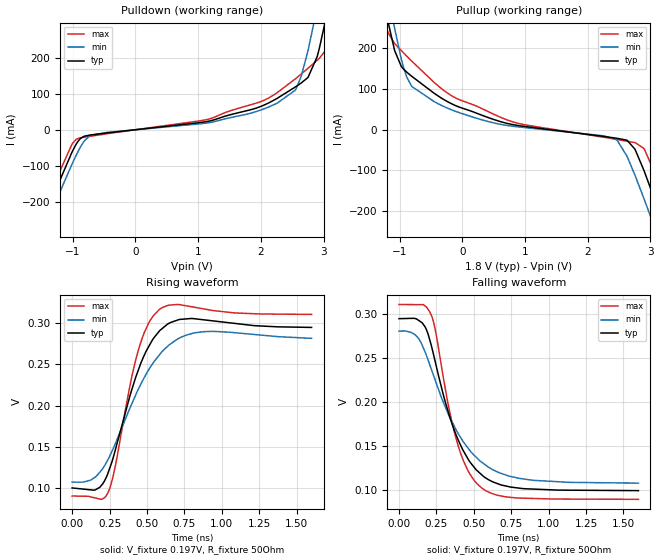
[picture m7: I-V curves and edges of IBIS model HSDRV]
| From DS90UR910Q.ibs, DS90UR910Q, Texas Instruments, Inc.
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|   Model
[Model]   HSDRV
Model_type   Output
Polarity   Non-Inverting
Vmeas = 0.2
Vref = 0.2
Cref = 1pF
Rref = 50
|   typ   min   max
C_comp   1.832pF   1.601pF   1.978pF
[Voltage Range]   1.8   1.71   1.89
[Temperature Range]   25   105   -40
[Pullup Reference]   1.8   1.71   1.89
[Pulldown Reference]   -0   0   0
[Power Clamp Reference]   1.8   1.71   1.89
[GND Clamp Reference]   0   0   0
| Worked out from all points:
|   slope of the pulldown table from 0 to 0.27 V, typ, clamps not added: 51.7 ohm
|   slope of the pullup table from 0 to 0.27 V, typ, clamps not added: 18.2 ohm
|   falling waveform, V_fixture 0.197V, R_fixture 50Ohm: 20-80 % time 222ps typ, 288ps min, 171ps max; typ from 0.294 V to 0.1 V
|   rising waveform, V_fixture 0.197V, R_fixture 50Ohm: 20-80 % time 191ps typ, 263ps min, 145ps max; typ from 0.1 V to 0.295 V
[Pulldown]
|   Voltage   I(typ)   I(min)   I(max)
-1.8V     -408.1mA   -428.6mA   -394.2mA
-1.244V   -157.8mA   -189.4mA   -133.5mA
-941.4mV  -39.07mA   -69.66mA   -26.44mA
-720mV    -14.67mA   -15.53mA   -18.18mA
1.138V    22.58mA    18.55mA    28.11mA
2.201V    81.34mA    69mA       96mA
2.558V    119.5mA    111.7mA    142.1mA
2.752V    145.1mA    219.8mA    170.5mA
2.898V    202.6mA    338.3mA    192.6mA
3.049V    317.1mA    472.4mA    223.8mA
3.238V    484.9mA    647mA      350.1mA
3.595V    821mA      985.6mA    677.5mA
[Pullup]
|   Voltage   I(typ)   I(min)   I(max)
-1.8V     826.6mA    904.9mA    769.2mA
-1.179V   262.1mA    331.7mA    237.6mA
-1.082V   196.7mA    251.8mA    212.4mA
-941.4mV  149.8mA    155.6mA    189.7mA
-806.4mV  131.4mA    106.5mA    168.7mA
-109.8mV  59.48mA    45.33mA    78.4mA
878.4mV   10.67mA    7.232mA    16.23mA
2.466V    -21mA      -25.08mA   -23.89mA
2.758V    -49.25mA   -113.3mA   -31.78mA
2.903V    -102.8mA   -172.1mA   -47.71mA
3.103V    -188mA     -256.1mA   -125.3mA
3.595V    -409.8mA   -469mA     -353.8mA
[Ramp]
R_load = 50
|   typ   min   max
dV/dt_r   0.117256/1.91303e-10   0.104989/2.62728e-10   0.132656/1.44521e-10
dV/dt_f   0.116855/2.21162e-10   0.103292/2.87466e-10   0.132394/1.70685e-10
[Falling Waveform]
V_fixture = 0.197V
V_fixture_min = 0.194V
V_fixture_max = 0.2V
R_fixture = 50Ohm
C_fixture = 0F
|   Time   V(typ)   V(min)   V(max)
0s        294.4mV    280.3mV    310.5mV
129.5ps   292.7mV    272.3mV    310.3mV
175.5ps   284.9mV    256.3mV    308.6mV
216.7ps   263.5mV    236.9mV    298.1mV
305.5ps   202.4mV    196mV      218.9mV
392ps     158.5mV    165.3mV    152.3mV
462ps     135.3mV    147.7mV    122mV
552ps     117.7mV    132mV      102.8mV
889.5ps   101.5mV    111.5mV    90.86mV
1.6ns     99.68mV    108.2mV    89.83mV
[Rising Waveform]
V_fixture = 0.197V
V_fixture_min = 0.194V
V_fixture_max = 0.2V
R_fixture = 50Ohm
C_fixture = 0F
|   Time   V(typ)   V(min)   V(max)
0s        99.67mV    106.8mV    89.85mV
155.5ps   97.35mV    113.1mV    87.43mV
242ps     119mV      135.1mV    94.86mV
292ps     148.3mV    155.1mV    129.4mV
392ps     215.3mV    199.2mV    229.3mV
442ps     243mV      219.7mV    267.1mV
512ps     271.9mV    243.7mV    300.6mV
582ps     290.5mV    261.4mV    316.8mV
869.5ps   304.6mV    289.8mV    318mV
1.6ns     295.1mV    281.8mV    310.9mV
